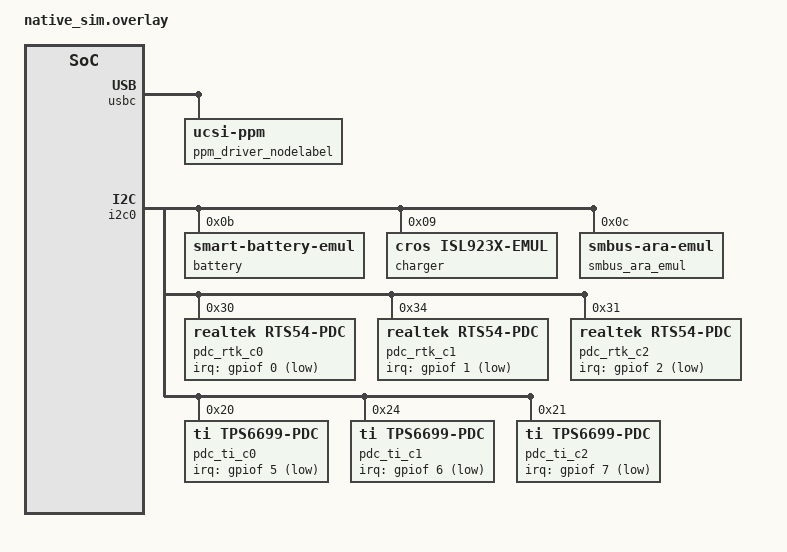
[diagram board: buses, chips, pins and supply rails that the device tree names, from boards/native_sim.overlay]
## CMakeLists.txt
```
# Copyright 2026 The ChromiumOS Authors
# Use of this source code is governed by a BSD-style license that can be
# found in the LICENSE file.

cmake_minimum_required(VERSION 3.13.1)
find_package(Zephyr REQUIRED HINTS "${ZEPHYR_BASE}")
project(atria)

# Include FFF fakes
add_subdirectory(${PLATFORM_EC}/zephyr/test/test_utils test_utils)

add_subdirectory(tests/atriarvp-rtk)

add_subdirectory_ifdef(CONFIG_TEST_BOARD_PENGHU tests/penghu)
```

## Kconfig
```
# Copyright 2026 The ChromiumOS Authors
# Use of this source code is governed by a BSD-style license that can be
# found in the LICENSE file.

choice TEST_BOARD_VARIANT
	prompt "Select board variant for tests"
	help
	  Board variant to use for tests

	config TEST_BOARD_ATRIA
		bool "Enable atria-specific tests"
		help
		  Enable Atria tests.

	config TEST_BOARD_PENGHU
		bool "Enable penghu-specific tests"
		help
		  Enable Penghu tests.

endchoice # TEST_BOARD_VARIANT

config TEST_BOARD_NAME
	string "Board name"
	default "atria" if TEST_BOARD_ATRIA
	default "penghu" if TEST_BOARD_PENGHU

config TEST_BOARD_PENGHU_KEYBOARD
	bool "Enable penghu keyboard tests"

config TEST_BOARD_PENGHU_FAN
	bool "Enable penghu fan tests"

config PLATFORM_EC_KEYBOARD_CUSTOMIZATION
	bool "Support keyboard customization"

config PLATFORM_EC_KEYBOARD_DEBUG
	bool "Enable keyboard debug prints"

source "Kconfig.zephyr"
```

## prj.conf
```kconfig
# Copyright 2026 The ChromiumOS Authors
# Use of this source code is governed by a BSD-style license that can be
# found in the LICENSE file.

CONFIG_ZTEST=y

# Basic EC functions
CONFIG_SHIMMED_TASKS=y
CONFIG_CROS_EC=y
CONFIG_PLATFORM_EC=y
CONFIG_PLATFORM_EC_HOOKS=y
CONFIG_PLATFORM_EC_HOSTCMD=y

# Disable CONFIG_PLATFORM_EC_DEBUG_ASSERT to avoid assert_post_action conflicts
CONFIG_PLATFORM_EC_DEBUG_ASSERT=n

# Console
CONFIG_SHELL_BACKEND_DUMMY=y
CONFIG_SHELL_BACKEND_DUMMY_BUF_SIZE=1000
CONFIG_SHELL_BACKEND_SERIAL=n
CONFIG_SERIAL=y
CONFIG_RING_BUFFER=y
CONFIG_LOG_BACKEND_UART=n

# Emulated PDC
CONFIG_EMUL=y

# Disable BC1.2
CONFIG_PLATFORM_EC_USB_CHARGER=n

# Charger (required by USB_PDC_POWER_MGMT subsystem)
CONFIG_PLATFORM_EC_CHARGER=y
CONFIG_PLATFORM_EC_CHARGER_SENSE_RESISTOR=10
CONFIG_PLATFORM_EC_CHARGER_SENSE_RESISTOR_AC=10
CONFIG_PLATFORM_EC_CHARGER_ISL9238=y
CONFIG_PLATFORM_EC_BATTERY_FUEL_GAUGE=y
CONFIG_PLATFORM_EC_CHARGER_MIN_POWER_MW_FOR_POWER_ON=30000
CONFIG_PLATFORM_EC_CHARGER_MIN_POWER_MW_FOR_POWER_ON_WITH_BATT=15000

# Turn off other unneeded features
CONFIG_PLATFORM_EC_BACKLIGHT_LID=n
CONFIG_PLATFORM_EC_VBOOT_HASH=n
CONFIG_PLATFORM_EC_SWITCH=n
CONFIG_PLATFORM_EC_USBC_SS_MUX=n

# Disable standard PD
CONFIG_PLATFORM_EC_USB_POWER_DELIVERY=n
CONFIG_PLATFORM_EC_USBC_PPC=n
CONFIG_PLATFORM_EC_USB_PD_PPC=n
CONFIG_PLATFORM_EC_HOSTCMD_PD_CONTROL=n
CONFIG_PLATFORM_EC_HOSTCMD_RWHASHPD=n
CONFIG_PLATFORM_EC_HOSTCMD_TYPEC_DISCOVERY=n
CONFIG_PLATFORM_EC_HOSTCMD_TYPEC_CONTROL=n
CONFIG_PLATFORM_EC_HOSTCMD_TYPEC_STATUS=n
CONFIG_PLATFORM_EC_HOSTCMD_PD_CHIP_INFO=n

# USB-C with PDC
CONFIG_PLATFORM_EC_USBC=y
CONFIG_PLATFORM_EC_USB_PD_CONTROLLER=y
CONFIG_PLATFORM_EC_USB_PD_VBUS_MEASURE_NOT_PRESENT=y
CONFIG_PLATFORM_EC_USB_PD_DISCHARGE=n

# PDC power management subsystem
CONFIG_USB_PDC_POWER_MGMT=y
CONFIG_PDC_POWER_MGMT_SRC_PDO_PEAK_OCP_150=y

# Log to stdout
CONFIG_UART_NATIVE_PTY_0_ON_STDINOUT=y
CONFIG_LOG_BACKEND_SHOW_COLOR=n
```

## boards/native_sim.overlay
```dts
/* Copyright 2026 The ChromiumOS Authors
 * Use of this source code is governed by a BSD-style license that can be
 * found in the LICENSE file.
 *
 * Consolidated native_sim overlay for all rvp_usbc_runtime test configs.
 *
 * Defines all three USB-C ports (C0, C1, C2) with both TI and RTK PDC nodes.
 * Tests use I2C emulator failure injection to simulate different hardware
 * configurations:
 *  - TI configurations: control which TI chips respond via I2C ACK/NACK
 *  - RTK configurations: control which RTK chips respond via I2C ACK/NACK
 */

#include <board-overlays/native_sim.dts>
#include <it8xxx2_emul.dts>
#include <usbc-policy.dtsi>

/ {
	usbc: usbc-ports {
		#address-cells = <1>;
		#size-cells = <0>;

		usbc_p0: port0@0 {
			compatible = "named-usbc-port";
			reg = <0>;
			pdc = <&pdc_rtk_c0 &pdc_ti_c0>;
			chg = <&charger>;
			policy = <&cros_policy>;
			zephyr,deferred-init;
		};

		usbc_p1: port1@1 {
			compatible = "named-usbc-port";
			reg = <1>;
			pdc = <&pdc_rtk_c1 &pdc_ti_c1>;
			policy = <&cros_policy>;
			zephyr,deferred-init;
		};

		usbc_p2: port2@2 {
			compatible = "named-usbc-port";
			reg = <2>;
			pdc = <&pdc_rtk_c2 &pdc_ti_c2>;
			policy = <&cros_policy>;
			zephyr,deferred-init;
		};

		ppm_driver_nodelabel: ppm-driver {
			compatible = "ucsi-ppm";
		};
	};

	named-i2c-ports {
		compatible = "named-i2c-ports";
		i2c_port_pd: i2c_pd {
			i2c-port = <&i2c0>;
			enum-names = "I2C_PORT_USB_C0_TCPC";
		};
		i2c_port_battery: i2c_battery {
			i2c-port = <&i2c0>;
			enum-names = "I2C_PORT_BATTERY";
		};
	};

	batteries {
		default_battery: lgc_ac17a8m {
			compatible = "lgc,ac17a8m", "battery-smart";
		};
	};
};

&i2c0 {
	battery: sb@b {
		compatible = "zephyr,smart-battery-emul";
		reg = <0xb>;
		cycle-count = <6>;
		version = "BATTERY_SPEC_VER_1_1_WITH_PEC";
		desired-charg-volt = <11250>;
		desired-charg-cur = <2400>;
		mf-name = "LGC";
		dev-name = "AP18C8K";
	};

	charger: isl9238@9 {
		compatible = "cros,isl923x-emul";
		status = "okay";
		reg = <0x9>;
		battery = <&battery>;
	};

	/* ------------------------------------------------------------------ */
	/* RTK PDC nodes — always enabled, i2c failure injection controls them */
	/* ------------------------------------------------------------------ */

	/* Required by the rts54-pdc emulator for SMBUS ARA handling */
	smbus_ara_emul: smbus_ara@c {
		compatible = "zephyr,smbus-ara-emul";
		reg = <0xc>;
	};

	pdc_rtk_c0: rts5453p@30 {
		compatible = "realtek,rts54-pdc";
		reg = <0x30>;
		irq-gpios = <&gpiof 0 GPIO_ACTIVE_LOW>;
		zephyr,deferred-init;
	};

	pdc_rtk_c1: rts5453p@34 {
		compatible = "realtek,rts54-pdc";
		reg = <0x34>;
		irq-gpios = <&gpiof 1 GPIO_ACTIVE_LOW>;
		zephyr,deferred-init;
	};

	pdc_rtk_c2: rts5453p@31 {
		compatible = "realtek,rts54-pdc";
		reg = <0x31>;
		irq-gpios = <&gpiof 2 GPIO_ACTIVE_LOW>;
		zephyr,deferred-init;
	};

	/* ------------------------------------------------------------------ */
	/* TI PDC nodes — always enabled, i2c failure injection controls them  */
	/* ------------------------------------------------------------------ */

	pdc_ti_c0: tps6699-pdc@20 {
		compatible = "ti,tps6699-pdc";
		reg = <0x20>;
		irq-gpios = <&gpiof 5 (GPIO_PULL_UP | GPIO_ACTIVE_LOW)>;
		port-index-on-chip = <0x1>;
		frs-supported;
		zephyr,deferred-init;
	};

	pdc_ti_c1: tps6699-pdc@24 {
		compatible = "ti,tps6699-pdc";
		reg = <0x24>;
		irq-gpios = <&gpiof 6 (GPIO_PULL_UP | GPIO_ACTIVE_LOW)>;
		port-index-on-chip = <0x2>;
		frs-supported;
		ccd;
		zephyr,deferred-init;
	};

	pdc_ti_c2: tps6699-pdc@21 {
		compatible = "ti,tps6699-pdc";
		reg = <0x21>;
		irq-gpios = <&gpiof 7 (GPIO_PULL_UP | GPIO_ACTIVE_LOW)>;
		port-index-on-chip = <0x1>;
		frs-supported;
		zephyr,deferred-init;
	};
};
```

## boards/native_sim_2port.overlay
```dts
/* Copyright 2026 The ChromiumOS Authors
 * Use of this source code is governed by a BSD-style license that can be
 * found in the LICENSE file.
 *
 * 2-port hardware overlay: only C0 and C1 TI TPS6699x PDC emulators present.
 * CONFIG_USB_PD_PORT_MAX_COUNT=2 → DEV_PDC_C2_TI=NULL, probe_pdc_chip(NULL)
 * returns false immediately. Discovery detects RVP_TCSS_DUAL_TI.
 */

#include <board-overlays/native_sim.dts>
#include <it8xxx2_emul.dts>
#include <usbc-policy.dtsi>

/ {
	usbc: usbc-ports {
		#address-cells = <1>;
		#size-cells = <0>;

		usbc_p0: port0@0 {
			compatible = "named-usbc-port";
			reg = <0>;
			pdc = <&pdc_ti_c0>;
			chg = <&charger>;
			policy = <&cros_policy>;
			zephyr,deferred-init;
		};

		usbc_p1: port1@1 {
			compatible = "named-usbc-port";
			reg = <1>;
			pdc = <&pdc_ti_c1>;
			policy = <&cros_policy>;
			zephyr,deferred-init;
		};

		ppm_driver_nodelabel: ppm-driver {
			compatible = "ucsi-ppm";
		};
	};

	named-i2c-ports {
		compatible = "named-i2c-ports";
		i2c_port_pd: i2c_pd {
			i2c-port = <&i2c0>;
			enum-names = "I2C_PORT_USB_C0_TCPC";
		};
		i2c_port_battery: i2c_battery {
			i2c-port = <&i2c0>;
			enum-names = "I2C_PORT_BATTERY";
		};
	};

	batteries {
		default_battery: lgc_ac17a8m {
			compatible = "lgc,ac17a8m", "battery-smart";
		};
	};
};

&i2c0 {
	battery: sb@b {
		compatible = "zephyr,smart-battery-emul";
		reg = <0xb>;
		cycle-count = <6>;
		version = "BATTERY_SPEC_VER_1_1_WITH_PEC";
		desired-charg-volt = <11250>;
		desired-charg-cur = <2400>;
		mf-name = "LGC";
		dev-name = "AP18C8K";
	};

	charger: isl9238@9 {
		compatible = "cros,isl923x-emul";
		status = "okay";
		reg = <0x9>;
		battery = <&battery>;
	};

	/*
	 * Two TPS6699x PDC nodes for the dual-AIC configuration.
	 * pdc_ti_c2 is absent: USB_PD_PORT_MAX_COUNT=2 so DEV_PDC_C2_TI=NULL.
	 */
	pdc_ti_c0: tps6699-pdc@20 {
		compatible = "ti,tps6699-pdc";
		reg = <0x20>;
		irq-gpios = <&gpiof 5 (GPIO_PULL_UP | GPIO_ACTIVE_LOW)>;
		port-index-on-chip = <0x1>;
		frs-supported;
		zephyr,deferred-init;
	};

	pdc_ti_c1: tps6699-pdc@24 {
		compatible = "ti,tps6699-pdc";
		reg = <0x24>;
		irq-gpios = <&gpiof 6 (GPIO_PULL_UP | GPIO_ACTIVE_LOW)>;
		port-index-on-chip = <0x2>;
		frs-supported;
		ccd;
		zephyr,deferred-init;
	};
};
```

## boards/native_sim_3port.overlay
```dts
/* Copyright 2026 The ChromiumOS Authors
 * Use of this source code is governed by a BSD-style license that can be
 * found in the LICENSE file.
 *
 * 3-port hardware overlay: all three TI TPS6699x PDC emulators present.
 * CONFIG_USB_PD_PORT_MAX_COUNT=3 → DEV_PDC_C2_TI is set.
 * Discovery detects RVP_TCSS_THREE_TI.
 */

#include <board-overlays/native_sim.dts>
#include <it8xxx2_emul.dts>
#include <usbc-policy.dtsi>

/ {
	usbc: usbc-ports {
		#address-cells = <1>;
		#size-cells = <0>;

		usbc_p0: port0@0 {
			compatible = "named-usbc-port";
			reg = <0>;
			pdc = <&pdc_ti_c0>;
			chg = <&charger>;
			policy = <&cros_policy>;
			zephyr,deferred-init;
		};

		usbc_p1: port1@1 {
			compatible = "named-usbc-port";
			reg = <1>;
			pdc = <&pdc_ti_c1>;
			policy = <&cros_policy>;
			zephyr,deferred-init;
		};

		usbc_p2: port2@2 {
			compatible = "named-usbc-port";
			reg = <2>;
			pdc = <&pdc_ti_c2>;
			policy = <&cros_policy>;
			zephyr,deferred-init;
		};

		ppm_driver_nodelabel: ppm-driver {
			compatible = "ucsi-ppm";
		};
	};

	named-i2c-ports {
		compatible = "named-i2c-ports";
		i2c_port_pd: i2c_pd {
			i2c-port = <&i2c0>;
			enum-names = "I2C_PORT_USB_C0_TCPC";
		};
		i2c_port_battery: i2c_battery {
			i2c-port = <&i2c0>;
			enum-names = "I2C_PORT_BATTERY";
		};
	};

	batteries {
		default_battery: lgc_ac17a8m {
			compatible = "lgc,ac17a8m", "battery-smart";
		};
	};
};

&i2c0 {
	battery: sb@b {
		compatible = "zephyr,smart-battery-emul";
		reg = <0xb>;
		cycle-count = <6>;
		version = "BATTERY_SPEC_VER_1_1_WITH_PEC";
		desired-charg-volt = <11250>;
		desired-charg-cur = <2400>;
		mf-name = "LGC";
		dev-name = "AP18C8K";
	};

	charger: isl9238@9 {
		compatible = "cros,isl923x-emul";
		status = "okay";
		reg = <0x9>;
		battery = <&battery>;
	};

	/*
	 * Three TPS6699x PDC nodes matching the addresses in rvp_usbc.dtsi.
	 * Using zephyr,deferred-init so the PDC driver threads don't start
	 * automatically; the emulator backends are still registered with i2c0
	 * and respond to the raw I2C probes in probe_pdc_chip().
	 */
	pdc_ti_c0: tps6699-pdc@20 {
		compatible = "ti,tps6699-pdc";
		reg = <0x20>;
		irq-gpios = <&gpiof 5 (GPIO_PULL_UP | GPIO_ACTIVE_LOW)>;
		port-index-on-chip = <0x1>;
		frs-supported;
		zephyr,deferred-init;
	};

	pdc_ti_c1: tps6699-pdc@24 {
		compatible = "ti,tps6699-pdc";
		reg = <0x24>;
		irq-gpios = <&gpiof 6 (GPIO_PULL_UP | GPIO_ACTIVE_LOW)>;
		port-index-on-chip = <0x2>;
		frs-supported;
		ccd;
		zephyr,deferred-init;
	};

	pdc_ti_c2: tps6699-pdc@21 {
		compatible = "ti,tps6699-pdc";
		reg = <0x21>;
		irq-gpios = <&gpiof 7 (GPIO_PULL_UP | GPIO_ACTIVE_LOW)>;
		port-index-on-chip = <0x1>;
		frs-supported;
		zephyr,deferred-init;
	};
};
```

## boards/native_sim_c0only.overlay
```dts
/* Copyright 2026 The ChromiumOS Authors
 * Use of this source code is governed by a BSD-style license that can be
 * found in the LICENSE file.
 *
 * C0-only overlay: C0 real TPS6699x; C1 fake-absent; C2=NULL
 * (USB_PD_PORT_MAX_COUNT=2). Probes: C0=true, C1=false → RVP_TCSS_C0_TI.
 */

#include <board-overlays/native_sim.dts>
#include <it8xxx2_emul.dts>
#include <usbc-policy.dtsi>

/ {
	usbc: usbc-ports {
		#address-cells = <1>;
		#size-cells = <0>;

		usbc_p0: port0@0 {
			compatible = "named-usbc-port";
			reg = <0>;
			pdc = <&pdc_ti_c0>;
			chg = <&charger>;
			policy = <&cros_policy>;
			zephyr,deferred-init;
		};

		usbc_p1: port1@1 {
			compatible = "named-usbc-port";
			reg = <1>;
			pdc = <&pdc_ti_c1>;
			policy = <&cros_policy>;
			zephyr,deferred-init;
		};

		ppm_driver_nodelabel: ppm-driver {
			compatible = "ucsi-ppm";
		};
	};

	named-i2c-ports {
		compatible = "named-i2c-ports";
		i2c_port_pd: i2c_pd {
			i2c-port = <&i2c0>;
			enum-names = "I2C_PORT_USB_C0_TCPC";
		};
		i2c_port_battery: i2c_battery {
			i2c-port = <&i2c0>;
			enum-names = "I2C_PORT_BATTERY";
		};
	};

	batteries {
		default_battery: lgc_ac17a8m {
			compatible = "lgc,ac17a8m", "battery-smart";
		};
	};
};

&i2c0 {
	battery: sb@b {
		compatible = "zephyr,smart-battery-emul";
		reg = <0xb>;
		cycle-count = <6>;
		version = "BATTERY_SPEC_VER_1_1_WITH_PEC";
		desired-charg-volt = <11250>;
		desired-charg-cur = <2400>;
		mf-name = "LGC";
		dev-name = "AP18C8K";
	};

	charger: isl9238@9 {
		compatible = "cros,isl923x-emul";
		status = "okay";
		reg = <0x9>;
		battery = <&battery>;
	};

	pdc_ti_c0: tps6699-pdc@20 {
		compatible = "ti,tps6699-pdc";
		reg = <0x20>;
		irq-gpios = <&gpiof 5 (GPIO_PULL_UP | GPIO_ACTIVE_LOW)>;
		port-index-on-chip = <0x1>;
		frs-supported;
		zephyr,deferred-init;
	};

	pdc_ti_c1: fake-absent-pdc@7d {
		compatible = "cros,fake-absent-pdc";
		reg = <0x7d>;
		zephyr,deferred-init;
	};
};
```

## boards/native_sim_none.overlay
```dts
/* Copyright 2026 The ChromiumOS Authors
 * Use of this source code is governed by a BSD-style license that can be
 * found in the LICENSE file.
 *
 * No-PDC overlay: both C0 and C1 are fake-absent; C2 is NULL
 * (USB_PD_PORT_MAX_COUNT=2). All probes fail → RVP_TCSS_NONE detected.
 */

#include <board-overlays/native_sim.dts>
#include <it8xxx2_emul.dts>
#include <usbc-policy.dtsi>

/ {
	usbc: usbc-ports {
		#address-cells = <1>;
		#size-cells = <0>;

		usbc_p0: port0@0 {
			compatible = "named-usbc-port";
			reg = <0>;
			pdc = <&pdc_ti_c0>;
			chg = <&charger>;
			policy = <&cros_policy>;
			zephyr,deferred-init;
		};

		usbc_p1: port1@1 {
			compatible = "named-usbc-port";
			reg = <1>;
			pdc = <&pdc_ti_c1>;
			policy = <&cros_policy>;
			zephyr,deferred-init;
		};

		ppm_driver_nodelabel: ppm-driver {
			compatible = "ucsi-ppm";
		};
	};

	named-i2c-ports {
		compatible = "named-i2c-ports";
		i2c_port_pd: i2c_pd {
			i2c-port = <&i2c0>;
			enum-names = "I2C_PORT_USB_C0_TCPC";
		};
		i2c_port_battery: i2c_battery {
			i2c-port = <&i2c0>;
			enum-names = "I2C_PORT_BATTERY";
		};
	};

	batteries {
		default_battery: lgc_ac17a8m {
			compatible = "lgc,ac17a8m", "battery-smart";
		};
	};
};

&i2c0 {
	battery: sb@b {
		compatible = "zephyr,smart-battery-emul";
		reg = <0xb>;
		cycle-count = <6>;
		version = "BATTERY_SPEC_VER_1_1_WITH_PEC";
		desired-charg-volt = <11250>;
		desired-charg-cur = <2400>;
		mf-name = "LGC";
		dev-name = "AP18C8K";
	};

	charger: isl9238@9 {
		compatible = "cros,isl923x-emul";
		status = "okay";
		reg = <0x9>;
		battery = <&battery>;
	};

	/* No real PDC emulators — both C0 and C1 are fake-absent nodes at
	 * unregistered addresses so i2c_transfer_dt() fails for both.
	 */
	pdc_ti_c0: fake-absent-pdc@7c {
		compatible = "cros,fake-absent-pdc";
		reg = <0x7c>;
		zephyr,deferred-init;
	};

	pdc_ti_c1: fake-absent-pdc@7d {
		compatible = "cros,fake-absent-pdc";
		reg = <0x7d>;
		zephyr,deferred-init;
	};
};
```

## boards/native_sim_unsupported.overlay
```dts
/* Copyright 2026 The ChromiumOS Authors
 * Use of this source code is governed by a BSD-style license that can be
 * found in the LICENSE file.
 *
 * Unsupported-combo overlay: C0 and C2 real TPS6699x; C1 fake-absent; 3
 * usbc-ports (USB_PD_PORT_MAX_COUNT=3). Probes: C0=true, C1=false, C2=true
 * → detected = RVP_TCSS_C0_TI | RVP_TCSS_C2_TI → default (unsupported) case.
 */

#include <board-overlays/native_sim.dts>
#include <it8xxx2_emul.dts>
#include <usbc-policy.dtsi>

/ {
	usbc: usbc-ports {
		#address-cells = <1>;
		#size-cells = <0>;

		usbc_p0: port0@0 {
			compatible = "named-usbc-port";
			reg = <0>;
			pdc = <&pdc_ti_c0>;
			chg = <&charger>;
			policy = <&cros_policy>;
			zephyr,deferred-init;
		};

		usbc_p1: port1@1 {
			compatible = "named-usbc-port";
			reg = <1>;
			pdc = <&pdc_ti_c1>;
			policy = <&cros_policy>;
			zephyr,deferred-init;
		};

		usbc_p2: port2@2 {
			compatible = "named-usbc-port";
			reg = <2>;
			pdc = <&pdc_ti_c2>;
			policy = <&cros_policy>;
			zephyr,deferred-init;
		};

		ppm_driver_nodelabel: ppm-driver {
			compatible = "ucsi-ppm";
		};
	};

	named-i2c-ports {
		compatible = "named-i2c-ports";
		i2c_port_pd: i2c_pd {
			i2c-port = <&i2c0>;
			enum-names = "I2C_PORT_USB_C0_TCPC";
		};
		i2c_port_battery: i2c_battery {
			i2c-port = <&i2c0>;
			enum-names = "I2C_PORT_BATTERY";
		};
	};

	batteries {
		default_battery: lgc_ac17a8m {
			compatible = "lgc,ac17a8m", "battery-smart";
		};
	};
};

&i2c0 {
	battery: sb@b {
		compatible = "zephyr,smart-battery-emul";
		reg = <0xb>;
		cycle-count = <6>;
		version = "BATTERY_SPEC_VER_1_1_WITH_PEC";
		desired-charg-volt = <11250>;
		desired-charg-cur = <2400>;
		mf-name = "LGC";
		dev-name = "AP18C8K";
	};

	charger: isl9238@9 {
		compatible = "cros,isl923x-emul";
		status = "okay";
		reg = <0x9>;
		battery = <&battery>;
	};

	pdc_ti_c0: tps6699-pdc@20 {
		compatible = "ti,tps6699-pdc";
		reg = <0x20>;
		irq-gpios = <&gpiof 5 (GPIO_PULL_UP | GPIO_ACTIVE_LOW)>;
		port-index-on-chip = <0x1>;
		frs-supported;
		zephyr,deferred-init;
	};

	pdc_ti_c1: fake-absent-pdc@7d {
		compatible = "cros,fake-absent-pdc";
		reg = <0x7d>;
		zephyr,deferred-init;
	};

	pdc_ti_c2: tps6699-pdc@21 {
		compatible = "ti,tps6699-pdc";
		reg = <0x21>;
		irq-gpios = <&gpiof 7 (GPIO_PULL_UP | GPIO_ACTIVE_LOW)>;
		port-index-on-chip = <0x1>;
		frs-supported;
		zephyr,deferred-init;
	};
};
```

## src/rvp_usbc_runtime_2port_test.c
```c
/* Copyright 2026 The ChromiumOS Authors
 * Use of this source code is governed by a BSD-style license that can be
 * found in the LICENSE file.
 *
 * 2-port test for board_get_pdc_for_port().
 *
 * Overlay: native_sim.overlay (ATRIA_2PORT)
 * Only C0 and C1 emulators present; USB_PD_PORT_MAX_COUNT=2 so DEV_PDC_C2_TI
 * is NULL and probe_pdc_chip(NULL) returns false immediately.
 * Expected discovery result: DUAL_TI.
 *
 * A single ZTEST covers all port queries so the first call always triggers a
 * fresh discover_tcss_modules() run.
 */

#include "usbc/pdc_runtime_port_config.h"

#include <errno.h>

#include <zephyr/devicetree.h>
#include <zephyr/ztest.h>

ZTEST_SUITE(rvp_usbc_runtime_2port, NULL, NULL, NULL, NULL, NULL);

/**
 * First call triggers discovery; C2=NULL so probe_pdc_chip(NULL) returns
 * false immediately.  DUAL_TI is detected.  Both valid ports are verified,
 * then an out-of-range port exercises the DUAL_TI switch break.
 */
ZTEST(rvp_usbc_runtime_2port, test_all_ports)
{
	const struct device *dev;

	zassert_ok(board_get_pdc_for_port(0, &dev));
	zassert_equal(DEVICE_DT_GET(DT_NODELABEL(pdc_ti_c0)), dev);

	zassert_ok(board_get_pdc_for_port(1, &dev));
	zassert_equal(DEVICE_DT_GET(DT_NODELABEL(pdc_ti_c1)), dev);

	/* Port 2 has no match in the DUAL_TI switch case → -ENOENT. */
	zassert_equal(-ENOENT, board_get_pdc_for_port(2, &dev));
	zassert_is_null(dev);
}
```

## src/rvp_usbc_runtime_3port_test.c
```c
/* Copyright 2026 The ChromiumOS Authors
 * Use of this source code is governed by a BSD-style license that can be
 * found in the LICENSE file.
 *
 * 3-port test for board_get_pdc_for_port().
 *
 * Overlay: native_sim.overlay (CONFIG_TEST_ATRIA_RVP_USBC_RUNTIME_3PORT=y)
 * All three TPS6699x emulators respond → THREE_TI detected.
 *
 * A single ZTEST covers every port query so that the first call always
 * triggers a fresh discover_tcss_modules() run (ctx starts zero-initialised
 * in each test binary).
 */

#include "usbc/pdc_runtime_port_config.h"

#include <errno.h>

#include <zephyr/devicetree.h>
#include <zephyr/ztest.h>

ZTEST_SUITE(rvp_usbc_runtime_3port, NULL, NULL, NULL, NULL, NULL);

/**
 * First call triggers discovery; all three emulators respond so THREE_TI is
 * detected.  Verify each valid port and confirm an out-of-range port returns
 * -ENOENT.
 */
ZTEST(rvp_usbc_runtime_3port, test_all_ports)
{
	const struct device *dev;

	zassert_ok(board_get_pdc_for_port(0, &dev));
	zassert_equal(DEVICE_DT_GET(DT_NODELABEL(pdc_ti_c0)), dev);

	zassert_ok(board_get_pdc_for_port(1, &dev));
	zassert_equal(DEVICE_DT_GET(DT_NODELABEL(pdc_ti_c1)), dev);

	zassert_ok(board_get_pdc_for_port(2, &dev));
	zassert_equal(DEVICE_DT_GET(DT_NODELABEL(pdc_ti_c2)), dev);

	/* Port 3 has no match in the THREE_TI switch case. */
	zassert_equal(-ENOENT, board_get_pdc_for_port(3, &dev));
	zassert_is_null(dev);
}
```

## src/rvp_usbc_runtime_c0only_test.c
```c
/* Copyright 2026 The ChromiumOS Authors
 * Use of this source code is governed by a BSD-style license that can be
 * found in the LICENSE file.
 *
 * C0-only test for board_get_pdc_for_port().
 *
 * Overlay: native_sim.overlay (CONFIG_TEST_ATRIA_RVP_USBC_RUNTIME_C0_ONLY=y)
 * C0 responds; C1 is fake-absent; C2=NULL.  Probes: C0=true, C1=false
 * → RVP_TCSS_C0_TI detected.  Port 0 succeeds; port 1 falls through to
 * -ENOENT.
 */

#include "usbc/pdc_runtime_port_config.h"

#include <errno.h>

#include <zephyr/devicetree.h>
#include <zephyr/ztest.h>

ZTEST_SUITE(rvp_usbc_runtime_c0only, NULL, NULL, NULL, NULL, NULL);

ZTEST(rvp_usbc_runtime_c0only, test_c0_only)
{
	const struct device *dev;

	/* First call triggers discovery → C0_TI. */
	zassert_ok(board_get_pdc_for_port(0, &dev));
	zassert_equal(DEVICE_DT_GET(DT_NODELABEL(pdc_ti_c0)), dev);

	/* Port 1 has no match in the C0_TI switch case. */
	zassert_equal(-ENOENT, board_get_pdc_for_port(1, &dev));
	zassert_is_null(dev);
}
```

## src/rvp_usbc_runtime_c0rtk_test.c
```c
/* Copyright 2026 The ChromiumOS Authors
 * Use of this source code is governed by a BSD-style license that can be
 * found in the LICENSE file.
 *
 * C0-only RTK test for board_get_pdc_for_port().
 *
 * Overlay: native_sim.overlay (ATRIA_C0RTK)
 * C0 RTK probe succeeds (tps6699 proxy); C1 RTK fake-absent; C2=NULL.
 * detected = RVP_TCSS_C0_RTK → C0_RTK switch case.
 */

#include "usbc/pdc_runtime_port_config.h"

#include <errno.h>

#include <zephyr/devicetree.h>
#include <zephyr/ztest.h>

ZTEST_SUITE(rvp_usbc_runtime_c0rtk, NULL, NULL, NULL, NULL, NULL);

ZTEST(rvp_usbc_runtime_c0rtk, test_c0_rtk)
{
	const struct device *dev;

	/* First call triggers discovery → C0_RTK. */
	zassert_ok(board_get_pdc_for_port(0, &dev));
	zassert_equal(DEVICE_DT_GET(DT_NODELABEL(pdc_rtk_c0)), dev);

	/* Port 1 has no match in the C0_RTK switch case → -ENOENT. */
	zassert_equal(-ENOENT, board_get_pdc_for_port(1, &dev));
	zassert_is_null(dev);
}
```

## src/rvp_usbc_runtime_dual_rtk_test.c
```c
/* Copyright 2026 The ChromiumOS Authors
 * Use of this source code is governed by a BSD-style license that can be
 * found in the LICENSE file.
 *
 * Dual-RTK test for board_get_pdc_for_port().
 *
 * Overlay: native_sim.overlay (ATRIA_DUAL_RTK)
 * C0 and C1 RTK probes succeed; C2=NULL (USB_PD_PORT_MAX_COUNT=2).
 * detected = RVP_TCSS_DUAL_RTK → DUAL_RTK switch case.
 */

#include "usbc/pdc_runtime_port_config.h"

#include <errno.h>

#include <zephyr/devicetree.h>
#include <zephyr/ztest.h>

ZTEST_SUITE(rvp_usbc_runtime_dual_rtk, NULL, NULL, NULL, NULL, NULL);

ZTEST(rvp_usbc_runtime_dual_rtk, test_dual_rtk)
{
	const struct device *dev;

	/* First call triggers discovery → DUAL_RTK. */
	zassert_ok(board_get_pdc_for_port(0, &dev));
	zassert_equal(DEVICE_DT_GET(DT_NODELABEL(pdc_rtk_c0)), dev);

	zassert_ok(board_get_pdc_for_port(1, &dev));
	zassert_equal(DEVICE_DT_GET(DT_NODELABEL(pdc_rtk_c1)), dev);

	/* Port 2 has no match in the DUAL_RTK switch case → -ENOENT. */
	zassert_equal(-ENOENT, board_get_pdc_for_port(2, &dev));
	zassert_is_null(dev);
}
```

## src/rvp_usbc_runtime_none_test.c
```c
/* Copyright 2026 The ChromiumOS Authors
 * Use of this source code is governed by a BSD-style license that can be
 * found in the LICENSE file.
 *
 * No-PDC test for board_get_pdc_for_port().
 *
 * Overlay: native_sim.overlay (CONFIG_TEST_ATRIA_RVP_USBC_RUNTIME_NONE=y)
 * Both C0 and C1 are fake-absent; C2=NULL.  All probes fail → NONE detected.
 * board_get_pdc_for_port() must return 0 with *dev = NULL for any port.
 */

#include "usbc/pdc_runtime_port_config.h"

#include <zephyr/ztest.h>

ZTEST_SUITE(rvp_usbc_runtime_none, NULL, NULL, NULL, NULL, NULL);

ZTEST(rvp_usbc_runtime_none, test_no_pdcs_detected)
{
	const struct device *dev;

	/* First call triggers discovery; all probes fail → NONE. */
	zassert_ok(board_get_pdc_for_port(0, &dev));
	zassert_is_null(dev);
}
```

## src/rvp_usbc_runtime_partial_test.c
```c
/* Copyright 2026 The ChromiumOS Authors
 * Use of this source code is governed by a BSD-style license that can be
 * found in the LICENSE file.
 *
 * Shared test file for partial/edge-case hardware configurations.
 *
 * Each testcase.yaml entry compiles this file with a different overlay and
 * exactly one CONFIG_TEST_ATRIA_RVP_USBC_RUNTIME_* flag set, activating the
 * matching ZTEST block. The overlay controls which PDC chips are detected by
 * discover_tcss_modules(), which in turn drives which switch case in
 * board_get_pdc_for_port() is exercised.
 */

#include "usbc/pdc_runtime_port_config.h"

#include <errno.h>

#include <zephyr/devicetree.h>
#include <zephyr/ztest.h>

ZTEST_SUITE(rvp_usbc_runtime_partial, NULL, NULL, NULL, NULL, NULL);

#if defined(CONFIG_TEST_ATRIA_RVP_USBC_RUNTIME_NONE)
/**
 * NONE: no PDCs detected → any port returns 0 with *dev = NULL.
 */
ZTEST(rvp_usbc_runtime_partial, test_none)
{
	const struct device *dev;

	zassert_ok(board_get_pdc_for_port(0, &dev));
	zassert_is_null(dev);
}
#endif

#if defined(CONFIG_TEST_ATRIA_RVP_USBC_RUNTIME_C0_ONLY)
/**
 * C0_TI: port 0 succeeds, port 1 falls through to -ENOENT.
 */
ZTEST(rvp_usbc_runtime_partial, test_c0_only)
{
	const struct device *dev;

	zassert_ok(board_get_pdc_for_port(0, &dev));
	zassert_equal(DEVICE_DT_GET(DT_NODELABEL(pdc_ti_c0)), dev);

	zassert_equal(-ENOENT, board_get_pdc_for_port(1, &dev));
	zassert_is_null(dev);
}
#endif

#if defined(CONFIG_TEST_ATRIA_RVP_USBC_RUNTIME_UNSUPPORTED)
/**
 * Unsupported combo (C0 + C2, no C1) → default case, returns -ENOENT.
 */
ZTEST(rvp_usbc_runtime_partial, test_unsupported_combo)
{
	const struct device *dev;

	zassert_equal(-ENOENT, board_get_pdc_for_port(0, &dev));
	zassert_is_null(dev);
}
#endif
```

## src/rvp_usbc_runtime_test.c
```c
/* Copyright 2026 The ChromiumOS Authors
 * Use of this source code is governed by a BSD-style license that can be
 * found in the LICENSE file.
 *
 * Consolidated test suite for board_get_pdc_for_port() runtime detection.
 *
 * Uses reset_pdc_discovery_for_test() to reset internal state between tests,
 * allowing all hardware configurations to be tested in a single binary.
 */

#include "emul/emul_common_i2c.h"
#include "emul/emul_realtek_rts54xx_public.h"
#include "emul/emul_tps6699x.h"
#include "usbc/pdc_runtime_port_config.h"

#include <errno.h>

#include <zephyr/devicetree.h>
#include <zephyr/drivers/emul.h>
#include <zephyr/ztest.h>

/* Test-only function to reset discovery state between tests */
extern void reset_pdc_discovery_for_test(void);

/* ========================================================================== */
/* TI PDC Configuration Tests                                                 */
/* ========================================================================== */

ZTEST(rvp_usbc_runtime, test_three_port_ti)
{
	const struct device *dev;

	/* All three TI emulators respond, all RTK and HBR fail */
	i2c_common_emul_set_write_fail_reg(
		emul_tps6699x_get_i2c_common_data(
			EMUL_DT_GET(DT_NODELABEL(pdc_ti_c0))),
		I2C_COMMON_EMUL_NO_FAIL_REG);
	i2c_common_emul_set_write_fail_reg(
		emul_tps6699x_get_i2c_common_data(
			EMUL_DT_GET(DT_NODELABEL(pdc_ti_c1))),
		I2C_COMMON_EMUL_NO_FAIL_REG);
	i2c_common_emul_set_write_fail_reg(
		emul_tps6699x_get_i2c_common_data(
			EMUL_DT_GET(DT_NODELABEL(pdc_ti_c2))),
		I2C_COMMON_EMUL_NO_FAIL_REG);
	i2c_common_emul_set_write_fail_reg(
		emul_tps6699x_get_i2c_common_data(
			EMUL_DT_GET(DT_NODELABEL(pdc_ti_c0_hbr))),
		I2C_COMMON_EMUL_FAIL_ALL_REG);
	i2c_common_emul_set_write_fail_reg(
		rts5453p_emul_get_i2c_common_data(
			EMUL_DT_GET(DT_NODELABEL(pdc_rtk_c0))),
		I2C_COMMON_EMUL_FAIL_ALL_REG);
	i2c_common_emul_set_write_fail_reg(
		rts5453p_emul_get_i2c_common_data(
			EMUL_DT_GET(DT_NODELABEL(pdc_rtk_c1))),
		I2C_COMMON_EMUL_FAIL_ALL_REG);
	i2c_common_emul_set_write_fail_reg(
		rts5453p_emul_get_i2c_common_data(
			EMUL_DT_GET(DT_NODELABEL(pdc_rtk_c2))),
		I2C_COMMON_EMUL_FAIL_ALL_REG);
	reset_pdc_discovery_for_test();

	/* THREE_TI detected, verify all ports */
	zassert_ok(board_get_pdc_for_port(0, &dev));
	zassert_equal(DEVICE_DT_GET(DT_NODELABEL(pdc_ti_c0)), dev);

	zassert_ok(board_get_pdc_for_port(1, &dev));
	zassert_equal(DEVICE_DT_GET(DT_NODELABEL(pdc_ti_c1)), dev);

	zassert_ok(board_get_pdc_for_port(2, &dev));
	zassert_equal(DEVICE_DT_GET(DT_NODELABEL(pdc_ti_c2)), dev);

	/* Port 3 out of range */
	zassert_equal(-ENOENT, board_get_pdc_for_port(3, &dev));
	zassert_is_null(dev);
}

ZTEST(rvp_usbc_runtime, test_dual_port_ti)
{
	const struct device *dev;

	/* Only C0 and C1 TI respond, C2 and HBR fail */
	i2c_common_emul_set_write_fail_reg(
		emul_tps6699x_get_i2c_common_data(
			EMUL_DT_GET(DT_NODELABEL(pdc_ti_c0))),
		I2C_COMMON_EMUL_NO_FAIL_REG);
	i2c_common_emul_set_write_fail_reg(
		emul_tps6699x_get_i2c_common_data(
			EMUL_DT_GET(DT_NODELABEL(pdc_ti_c1))),
		I2C_COMMON_EMUL_NO_FAIL_REG);
	i2c_common_emul_set_write_fail_reg(
		emul_tps6699x_get_i2c_common_data(
			EMUL_DT_GET(DT_NODELABEL(pdc_ti_c2))),
		I2C_COMMON_EMUL_FAIL_ALL_REG);
	i2c_common_emul_set_write_fail_reg(
		emul_tps6699x_get_i2c_common_data(
			EMUL_DT_GET(DT_NODELABEL(pdc_ti_c0_hbr))),
		I2C_COMMON_EMUL_FAIL_ALL_REG);
	i2c_common_emul_set_write_fail_reg(
		rts5453p_emul_get_i2c_common_data(
			EMUL_DT_GET(DT_NODELABEL(pdc_rtk_c0))),
		I2C_COMMON_EMUL_FAIL_ALL_REG);
	i2c_common_emul_set_write_fail_reg(
		rts5453p_emul_get_i2c_common_data(
			EMUL_DT_GET(DT_NODELABEL(pdc_rtk_c1))),
		I2C_COMMON_EMUL_FAIL_ALL_REG);
	i2c_common_emul_set_write_fail_reg(
		rts5453p_emul_get_i2c_common_data(
			EMUL_DT_GET(DT_NODELABEL(pdc_rtk_c2))),
		I2C_COMMON_EMUL_FAIL_ALL_REG);
	reset_pdc_discovery_for_test();

	/* DUAL_TI detected, verify valid ports */
	zassert_ok(board_get_pdc_for_port(0, &dev));
	zassert_equal(DEVICE_DT_GET(DT_NODELABEL(pdc_ti_c0)), dev);

	zassert_ok(board_get_pdc_for_port(1, &dev));
	zassert_equal(DEVICE_DT_GET(DT_NODELABEL(pdc_ti_c1)), dev);

	/* Port 2 out of range in DUAL_TI */
	zassert_equal(-ENOENT, board_get_pdc_for_port(2, &dev));
	zassert_is_null(dev);
}

ZTEST(rvp_usbc_runtime, test_no_pdcs)
{
	const struct device *dev;

	/* All PDC probes fail */
	i2c_common_emul_set_write_fail_reg(
		emul_tps6699x_get_i2c_common_data(
			EMUL_DT_GET(DT_NODELABEL(pdc_ti_c0))),
		I2C_COMMON_EMUL_FAIL_ALL_REG);
	i2c_common_emul_set_write_fail_reg(
		emul_tps6699x_get_i2c_common_data(
			EMUL_DT_GET(DT_NODELABEL(pdc_ti_c1))),
		I2C_COMMON_EMUL_FAIL_ALL_REG);
	i2c_common_emul_set_write_fail_reg(
		emul_tps6699x_get_i2c_common_data(
			EMUL_DT_GET(DT_NODELABEL(pdc_ti_c2))),
		I2C_COMMON_EMUL_FAIL_ALL_REG);
	i2c_common_emul_set_write_fail_reg(
		emul_tps6699x_get_i2c_common_data(
			EMUL_DT_GET(DT_NODELABEL(pdc_ti_c0_hbr))),
		I2C_COMMON_EMUL_FAIL_ALL_REG);
	i2c_common_emul_set_write_fail_reg(
		rts5453p_emul_get_i2c_common_data(
			EMUL_DT_GET(DT_NODELABEL(pdc_rtk_c0))),
		I2C_COMMON_EMUL_FAIL_ALL_REG);
	i2c_common_emul_set_write_fail_reg(
		rts5453p_emul_get_i2c_common_data(
			EMUL_DT_GET(DT_NODELABEL(pdc_rtk_c1))),
		I2C_COMMON_EMUL_FAIL_ALL_REG);
	i2c_common_emul_set_write_fail_reg(
		rts5453p_emul_get_i2c_common_data(
			EMUL_DT_GET(DT_NODELABEL(pdc_rtk_c2))),
		I2C_COMMON_EMUL_FAIL_ALL_REG);
	reset_pdc_discovery_for_test();

	/* NONE detected, returns OK with dev=NULL */
	zassert_ok(board_get_pdc_for_port(0, &dev));
	zassert_is_null(dev);
}

ZTEST(rvp_usbc_runtime, test_c0_only_ti)
{
	const struct device *dev;

	/* Only C0 TI responds, all others fail */
	i2c_common_emul_set_write_fail_reg(
		emul_tps6699x_get_i2c_common_data(
			EMUL_DT_GET(DT_NODELABEL(pdc_ti_c0))),
		I2C_COMMON_EMUL_NO_FAIL_REG);
	i2c_common_emul_set_write_fail_reg(
		emul_tps6699x_get_i2c_common_data(
			EMUL_DT_GET(DT_NODELABEL(pdc_ti_c1))),
		I2C_COMMON_EMUL_FAIL_ALL_REG);
	i2c_common_emul_set_write_fail_reg(
		emul_tps6699x_get_i2c_common_data(
			EMUL_DT_GET(DT_NODELABEL(pdc_ti_c2))),
		I2C_COMMON_EMUL_FAIL_ALL_REG);
	i2c_common_emul_set_write_fail_reg(
		emul_tps6699x_get_i2c_common_data(
			EMUL_DT_GET(DT_NODELABEL(pdc_ti_c0_hbr))),
		I2C_COMMON_EMUL_FAIL_ALL_REG);
	i2c_common_emul_set_write_fail_reg(
		rts5453p_emul_get_i2c_common_data(
			EMUL_DT_GET(DT_NODELABEL(pdc_rtk_c0))),
		I2C_COMMON_EMUL_FAIL_ALL_REG);
	i2c_common_emul_set_write_fail_reg(
		rts5453p_emul_get_i2c_common_data(
			EMUL_DT_GET(DT_NODELABEL(pdc_rtk_c1))),
		I2C_COMMON_EMUL_FAIL_ALL_REG);
	i2c_common_emul_set_write_fail_reg(
		rts5453p_emul_get_i2c_common_data(
			EMUL_DT_GET(DT_NODELABEL(pdc_rtk_c2))),
		I2C_COMMON_EMUL_FAIL_ALL_REG);
	reset_pdc_discovery_for_test();

	/* C0_TI detected, verify C0 works and others fail */
	zassert_ok(board_get_pdc_for_port(0, &dev));
	zassert_equal(DEVICE_DT_GET(DT_NODELABEL(pdc_ti_c0)), dev);

	zassert_equal(-ENOENT, board_get_pdc_for_port(1, &dev));
	zassert_is_null(dev);
}

ZTEST(rvp_usbc_runtime, test_unsupported_config)
{
	const struct device *dev;

	/* C0 and C2 TI respond, but not C1 (unsupported config) */
	i2c_common_emul_set_write_fail_reg(
		emul_tps6699x_get_i2c_common_data(
			EMUL_DT_GET(DT_NODELABEL(pdc_ti_c0))),
		I2C_COMMON_EMUL_NO_FAIL_REG);
	i2c_common_emul_set_write_fail_reg(
		emul_tps6699x_get_i2c_common_data(
			EMUL_DT_GET(DT_NODELABEL(pdc_ti_c1))),
		I2C_COMMON_EMUL_FAIL_ALL_REG);
	i2c_common_emul_set_write_fail_reg(
		emul_tps6699x_get_i2c_common_data(
			EMUL_DT_GET(DT_NODELABEL(pdc_ti_c2))),
		I2C_COMMON_EMUL_NO_FAIL_REG);
	i2c_common_emul_set_write_fail_reg(
		emul_tps6699x_get_i2c_common_data(
			EMUL_DT_GET(DT_NODELABEL(pdc_ti_c0_hbr))),
		I2C_COMMON_EMUL_FAIL_ALL_REG);
	i2c_common_emul_set_write_fail_reg(
		rts5453p_emul_get_i2c_common_data(
			EMUL_DT_GET(DT_NODELABEL(pdc_rtk_c0))),
		I2C_COMMON_EMUL_FAIL_ALL_REG);
	i2c_common_emul_set_write_fail_reg(
		rts5453p_emul_get_i2c_common_data(
			EMUL_DT_GET(DT_NODELABEL(pdc_rtk_c1))),
		I2C_COMMON_EMUL_FAIL_ALL_REG);
	i2c_common_emul_set_write_fail_reg(
		rts5453p_emul_get_i2c_common_data(
			EMUL_DT_GET(DT_NODELABEL(pdc_rtk_c2))),
		I2C_COMMON_EMUL_FAIL_ALL_REG);
	reset_pdc_discovery_for_test();

	/* Default case, all ports return -ENOENT */
	zassert_equal(-ENOENT, board_get_pdc_for_port(0, &dev));
	zassert_is_null(dev);
}

/* ========================================================================== */
/* RTK PDC Configuration Tests                                                */
/* ========================================================================== */

ZTEST(rvp_usbc_runtime, test_c0_only_rtk)
{
	const struct device *dev;

	/* Only C0 RTK responds, all others fail */
	i2c_common_emul_set_write_fail_reg(
		emul_tps6699x_get_i2c_common_data(
			EMUL_DT_GET(DT_NODELABEL(pdc_ti_c0))),
		I2C_COMMON_EMUL_FAIL_ALL_REG);
	i2c_common_emul_set_write_fail_reg(
		emul_tps6699x_get_i2c_common_data(
			EMUL_DT_GET(DT_NODELABEL(pdc_ti_c1))),
		I2C_COMMON_EMUL_FAIL_ALL_REG);
	i2c_common_emul_set_write_fail_reg(
		emul_tps6699x_get_i2c_common_data(
			EMUL_DT_GET(DT_NODELABEL(pdc_ti_c2))),
		I2C_COMMON_EMUL_FAIL_ALL_REG);
	i2c_common_emul_set_write_fail_reg(
		emul_tps6699x_get_i2c_common_data(
			EMUL_DT_GET(DT_NODELABEL(pdc_ti_c0_hbr))),
		I2C_COMMON_EMUL_FAIL_ALL_REG);
	i2c_common_emul_set_write_fail_reg(
		rts5453p_emul_get_i2c_common_data(
			EMUL_DT_GET(DT_NODELABEL(pdc_rtk_c0))),
		I2C_COMMON_EMUL_NO_FAIL_REG);
	i2c_common_emul_set_write_fail_reg(
		rts5453p_emul_get_i2c_common_data(
			EMUL_DT_GET(DT_NODELABEL(pdc_rtk_c1))),
		I2C_COMMON_EMUL_FAIL_ALL_REG);
	i2c_common_emul_set_write_fail_reg(
		rts5453p_emul_get_i2c_common_data(
			EMUL_DT_GET(DT_NODELABEL(pdc_rtk_c2))),
		I2C_COMMON_EMUL_FAIL_ALL_REG);
	reset_pdc_discovery_for_test();

	/* C0_RTK detected, verify C0 works and others fail */
	zassert_ok(board_get_pdc_for_port(0, &dev));
	zassert_equal(DEVICE_DT_GET(DT_NODELABEL(pdc_rtk_c0)), dev);

	zassert_equal(-ENOENT, board_get_pdc_for_port(1, &dev));
	zassert_is_null(dev);
}

ZTEST(rvp_usbc_runtime, test_dual_rtk)
{
	const struct device *dev;

	/* C0 and C1 RTK respond, all TI and HBR fail */
	i2c_common_emul_set_write_fail_reg(
		emul_tps6699x_get_i2c_common_data(
			EMUL_DT_GET(DT_NODELABEL(pdc_ti_c0))),
		I2C_COMMON_EMUL_FAIL_ALL_REG);
	i2c_common_emul_set_write_fail_reg(
		emul_tps6699x_get_i2c_common_data(
			EMUL_DT_GET(DT_NODELABEL(pdc_ti_c1))),
		I2C_COMMON_EMUL_FAIL_ALL_REG);
	i2c_common_emul_set_write_fail_reg(
		emul_tps6699x_get_i2c_common_data(
			EMUL_DT_GET(DT_NODELABEL(pdc_ti_c2))),
		I2C_COMMON_EMUL_FAIL_ALL_REG);
	i2c_common_emul_set_write_fail_reg(
		emul_tps6699x_get_i2c_common_data(
			EMUL_DT_GET(DT_NODELABEL(pdc_ti_c0_hbr))),
		I2C_COMMON_EMUL_FAIL_ALL_REG);
	i2c_common_emul_set_write_fail_reg(
		rts5453p_emul_get_i2c_common_data(
			EMUL_DT_GET(DT_NODELABEL(pdc_rtk_c0))),
		I2C_COMMON_EMUL_NO_FAIL_REG);
	i2c_common_emul_set_write_fail_reg(
		rts5453p_emul_get_i2c_common_data(
			EMUL_DT_GET(DT_NODELABEL(pdc_rtk_c1))),
		I2C_COMMON_EMUL_NO_FAIL_REG);
	i2c_common_emul_set_write_fail_reg(
		rts5453p_emul_get_i2c_common_data(
			EMUL_DT_GET(DT_NODELABEL(pdc_rtk_c2))),
		I2C_COMMON_EMUL_FAIL_ALL_REG);
	reset_pdc_discovery_for_test();

	/* DUAL_RTK detected, verify both ports */
	zassert_ok(board_get_pdc_for_port(0, &dev));
	zassert_equal(DEVICE_DT_GET(DT_NODELABEL(pdc_rtk_c0)), dev);

	zassert_ok(board_get_pdc_for_port(1, &dev));
	zassert_equal(DEVICE_DT_GET(DT_NODELABEL(pdc_rtk_c1)), dev);

	/* Port 2 out of range */
	zassert_equal(-ENOENT, board_get_pdc_for_port(2, &dev));
	zassert_is_null(dev);
}

ZTEST(rvp_usbc_runtime, test_three_rtk)
{
	const struct device *dev;

	/* All three RTK emulators respond, all TI and HBR fail */
	i2c_common_emul_set_write_fail_reg(
		emul_tps6699x_get_i2c_common_data(
			EMUL_DT_GET(DT_NODELABEL(pdc_ti_c0))),
		I2C_COMMON_EMUL_FAIL_ALL_REG);
	i2c_common_emul_set_write_fail_reg(
		emul_tps6699x_get_i2c_common_data(
			EMUL_DT_GET(DT_NODELABEL(pdc_ti_c1))),
		I2C_COMMON_EMUL_FAIL_ALL_REG);
	i2c_common_emul_set_write_fail_reg(
		emul_tps6699x_get_i2c_common_data(
			EMUL_DT_GET(DT_NODELABEL(pdc_ti_c2))),
		I2C_COMMON_EMUL_FAIL_ALL_REG);
	i2c_common_emul_set_write_fail_reg(
		emul_tps6699x_get_i2c_common_data(
			EMUL_DT_GET(DT_NODELABEL(pdc_ti_c0_hbr))),
		I2C_COMMON_EMUL_FAIL_ALL_REG);
	i2c_common_emul_set_write_fail_reg(
		rts5453p_emul_get_i2c_common_data(
			EMUL_DT_GET(DT_NODELABEL(pdc_rtk_c0))),
		I2C_COMMON_EMUL_NO_FAIL_REG);
	i2c_common_emul_set_write_fail_reg(
		rts5453p_emul_get_i2c_common_data(
			EMUL_DT_GET(DT_NODELABEL(pdc_rtk_c1))),
		I2C_COMMON_EMUL_NO_FAIL_REG);
	i2c_common_emul_set_write_fail_reg(
		rts5453p_emul_get_i2c_common_data(
			EMUL_DT_GET(DT_NODELABEL(pdc_rtk_c2))),
		I2C_COMMON_EMUL_NO_FAIL_REG);
	reset_pdc_discovery_for_test();

	/* THREE_RTK detected, verify all ports */
	zassert_ok(board_get_pdc_for_port(0, &dev));
	zassert_equal(DEVICE_DT_GET(DT_NODELABEL(pdc_rtk_c0)), dev);

	zassert_ok(board_get_pdc_for_port(1, &dev));
	zassert_equal(DEVICE_DT_GET(DT_NODELABEL(pdc_rtk_c1)), dev);

	zassert_ok(board_get_pdc_for_port(2, &dev));
	zassert_equal(DEVICE_DT_GET(DT_NODELABEL(pdc_rtk_c2)), dev);

	/* Port 3 out of range */
	zassert_equal(-ENOENT, board_get_pdc_for_port(3, &dev));
	zassert_is_null(dev);
}

/* ========================================================================== */
/* HBR TI PDC Configuration Tests                                             */
/* ========================================================================== */

ZTEST(rvp_usbc_runtime, test_c0_only_ti_hbr)
{
	const struct device *dev;

	/* Only HBR C0 responds (0x22), all others fail */
	i2c_common_emul_set_write_fail_reg(
		emul_tps6699x_get_i2c_common_data(
			EMUL_DT_GET(DT_NODELABEL(pdc_ti_c0_hbr))),
		I2C_COMMON_EMUL_NO_FAIL_REG);
	i2c_common_emul_set_write_fail_reg(
		emul_tps6699x_get_i2c_common_data(
			EMUL_DT_GET(DT_NODELABEL(pdc_ti_c0))),
		I2C_COMMON_EMUL_FAIL_ALL_REG);
	i2c_common_emul_set_write_fail_reg(
		emul_tps6699x_get_i2c_common_data(
			EMUL_DT_GET(DT_NODELABEL(pdc_ti_c1))),
		I2C_COMMON_EMUL_FAIL_ALL_REG);
	i2c_common_emul_set_write_fail_reg(
		emul_tps6699x_get_i2c_common_data(
			EMUL_DT_GET(DT_NODELABEL(pdc_ti_c2))),
		I2C_COMMON_EMUL_FAIL_ALL_REG);
	i2c_common_emul_set_write_fail_reg(
		rts5453p_emul_get_i2c_common_data(
			EMUL_DT_GET(DT_NODELABEL(pdc_rtk_c0))),
		I2C_COMMON_EMUL_FAIL_ALL_REG);
	i2c_common_emul_set_write_fail_reg(
		rts5453p_emul_get_i2c_common_data(
			EMUL_DT_GET(DT_NODELABEL(pdc_rtk_c1))),
		I2C_COMMON_EMUL_FAIL_ALL_REG);
	i2c_common_emul_set_write_fail_reg(
		rts5453p_emul_get_i2c_common_data(
			EMUL_DT_GET(DT_NODELABEL(pdc_rtk_c2))),
		I2C_COMMON_EMUL_FAIL_ALL_REG);
	reset_pdc_discovery_for_test();

	/* C0_TI_HBR detected */
	zassert_ok(board_get_pdc_for_port(0, &dev));
	zassert_equal(DEVICE_DT_GET(DT_NODELABEL(pdc_ti_c0_hbr)), dev);

	zassert_equal(-ENOENT, board_get_pdc_for_port(1, &dev));
	zassert_is_null(dev);
}

ZTEST(rvp_usbc_runtime, test_dual_port_ti_hbr)
{
	const struct device *dev;

	/* HBR C0 (0x22) and C1 (0x20) respond, all others fail */
	i2c_common_emul_set_write_fail_reg(
		emul_tps6699x_get_i2c_common_data(
			EMUL_DT_GET(DT_NODELABEL(pdc_ti_c0_hbr))),
		I2C_COMMON_EMUL_NO_FAIL_REG);
	i2c_common_emul_set_write_fail_reg(
		emul_tps6699x_get_i2c_common_data(
			EMUL_DT_GET(DT_NODELABEL(pdc_ti_c0))),
		I2C_COMMON_EMUL_NO_FAIL_REG);
	i2c_common_emul_set_write_fail_reg(
		emul_tps6699x_get_i2c_common_data(
			EMUL_DT_GET(DT_NODELABEL(pdc_ti_c1))),
		I2C_COMMON_EMUL_FAIL_ALL_REG);
	i2c_common_emul_set_write_fail_reg(
		emul_tps6699x_get_i2c_common_data(
			EMUL_DT_GET(DT_NODELABEL(pdc_ti_c2))),
		I2C_COMMON_EMUL_FAIL_ALL_REG);
	i2c_common_emul_set_write_fail_reg(
		rts5453p_emul_get_i2c_common_data(
			EMUL_DT_GET(DT_NODELABEL(pdc_rtk_c0))),
		I2C_COMMON_EMUL_FAIL_ALL_REG);
	i2c_common_emul_set_write_fail_reg(
		rts5453p_emul_get_i2c_common_data(
			EMUL_DT_GET(DT_NODELABEL(pdc_rtk_c1))),
		I2C_COMMON_EMUL_FAIL_ALL_REG);
	i2c_common_emul_set_write_fail_reg(
		rts5453p_emul_get_i2c_common_data(
			EMUL_DT_GET(DT_NODELABEL(pdc_rtk_c2))),
		I2C_COMMON_EMUL_FAIL_ALL_REG);
	reset_pdc_discovery_for_test();

	/* DUAL_TI_HBR detected: port0=0x22, port1=0x20 */
	zassert_ok(board_get_pdc_for_port(0, &dev));
	zassert_equal(DEVICE_DT_GET(DT_NODELABEL(pdc_ti_c0_hbr)), dev);

	zassert_ok(board_get_pdc_for_port(1, &dev));
	zassert_equal(DEVICE_DT_GET(DT_NODELABEL(pdc_ti_c0)), dev);

	/* Port 2 out of range in DUAL_TI_HBR */
	zassert_equal(-ENOENT, board_get_pdc_for_port(2, &dev));
	zassert_is_null(dev);
}

ZTEST(rvp_usbc_runtime, test_three_port_ti_hbr)
{
	const struct device *dev;

	/* HBR C0 (0x22), C1 (0x20), C2 (0x21) all respond */
	i2c_common_emul_set_write_fail_reg(
		emul_tps6699x_get_i2c_common_data(
			EMUL_DT_GET(DT_NODELABEL(pdc_ti_c0_hbr))),
		I2C_COMMON_EMUL_NO_FAIL_REG);
	i2c_common_emul_set_write_fail_reg(
		emul_tps6699x_get_i2c_common_data(
			EMUL_DT_GET(DT_NODELABEL(pdc_ti_c0))),
		I2C_COMMON_EMUL_NO_FAIL_REG);
	i2c_common_emul_set_write_fail_reg(
		emul_tps6699x_get_i2c_common_data(
			EMUL_DT_GET(DT_NODELABEL(pdc_ti_c1))),
		I2C_COMMON_EMUL_FAIL_ALL_REG);
	i2c_common_emul_set_write_fail_reg(
		emul_tps6699x_get_i2c_common_data(
			EMUL_DT_GET(DT_NODELABEL(pdc_ti_c2))),
		I2C_COMMON_EMUL_NO_FAIL_REG);
	i2c_common_emul_set_write_fail_reg(
		rts5453p_emul_get_i2c_common_data(
			EMUL_DT_GET(DT_NODELABEL(pdc_rtk_c0))),
		I2C_COMMON_EMUL_FAIL_ALL_REG);
	i2c_common_emul_set_write_fail_reg(
		rts5453p_emul_get_i2c_common_data(
			EMUL_DT_GET(DT_NODELABEL(pdc_rtk_c1))),
		I2C_COMMON_EMUL_FAIL_ALL_REG);
	i2c_common_emul_set_write_fail_reg(
		rts5453p_emul_get_i2c_common_data(
			EMUL_DT_GET(DT_NODELABEL(pdc_rtk_c2))),
		I2C_COMMON_EMUL_FAIL_ALL_REG);
	reset_pdc_discovery_for_test();

	/* THREE_TI_HBR detected: port0=0x22, port1=0x20, port2=0x21 */
	zassert_ok(board_get_pdc_for_port(0, &dev));
	zassert_equal(DEVICE_DT_GET(DT_NODELABEL(pdc_ti_c0_hbr)), dev);

	zassert_ok(board_get_pdc_for_port(1, &dev));
	zassert_equal(DEVICE_DT_GET(DT_NODELABEL(pdc_ti_c0)), dev);

	zassert_ok(board_get_pdc_for_port(2, &dev));
	zassert_equal(DEVICE_DT_GET(DT_NODELABEL(pdc_ti_c2)), dev);

	/* Port 3 out of range */
	zassert_equal(-ENOENT, board_get_pdc_for_port(3, &dev));
	zassert_is_null(dev);
}

ZTEST_SUITE(rvp_usbc_runtime, NULL, NULL, NULL, NULL, NULL);
```

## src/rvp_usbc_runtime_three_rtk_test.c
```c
/* Copyright 2026 The ChromiumOS Authors
 * Use of this source code is governed by a BSD-style license that can be
 * found in the LICENSE file.
 *
 * Three-RTK test for board_get_pdc_for_port().
 *
 * Overlay: native_sim.overlay (ATRIA_THREE_RTK)
 * All three RTK probes succeed (tps6699 proxies); all TI nodes fake-absent.
 * detected = RVP_TCSS_THREE_RTK → THREE_RTK switch case.
 */

#include "usbc/pdc_runtime_port_config.h"

#include <errno.h>

#include <zephyr/devicetree.h>
#include <zephyr/ztest.h>

ZTEST_SUITE(rvp_usbc_runtime_three_rtk, NULL, NULL, NULL, NULL, NULL);

ZTEST(rvp_usbc_runtime_three_rtk, test_three_rtk)
{
	const struct device *dev;

	/* First call triggers discovery → THREE_RTK. */
	zassert_ok(board_get_pdc_for_port(0, &dev));
	zassert_equal(DEVICE_DT_GET(DT_NODELABEL(pdc_rtk_c0)), dev);

	zassert_ok(board_get_pdc_for_port(1, &dev));
	zassert_equal(DEVICE_DT_GET(DT_NODELABEL(pdc_rtk_c1)), dev);

	zassert_ok(board_get_pdc_for_port(2, &dev));
	zassert_equal(DEVICE_DT_GET(DT_NODELABEL(pdc_rtk_c2)), dev);

	/* Port 3 has no match in the THREE_RTK switch case → -ENOENT. */
	zassert_equal(-ENOENT, board_get_pdc_for_port(3, &dev));
	zassert_is_null(dev);
}
```

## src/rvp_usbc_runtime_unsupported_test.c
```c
/* Copyright 2026 The ChromiumOS Authors
 * Use of this source code is governed by a BSD-style license that can be
 * found in the LICENSE file.
 *
 * Unsupported-combo test for board_get_pdc_for_port().
 *
 * Overlay: native_sim.overlay
 * (CONFIG_TEST_ATRIA_RVP_USBC_RUNTIME_UNSUPPORTED=y)
 * C0 and C2 respond; C1 is fake-absent.
 * detected = RVP_TCSS_C0_TI | RVP_TCSS_C2_TI → falls to default case in the
 * switch, returning -ENOENT for all ports.
 */

#include "usbc/pdc_runtime_port_config.h"

#include <errno.h>

#include <zephyr/ztest.h>

ZTEST_SUITE(rvp_usbc_runtime_unsupported, NULL, NULL, NULL, NULL, NULL);

ZTEST(rvp_usbc_runtime_unsupported, test_unsupported_combo)
{
	const struct device *dev;

	/* First call triggers discovery; unsupported combo hits default case.
	 */
	zassert_equal(-ENOENT, board_get_pdc_for_port(0, &dev));
	zassert_is_null(dev);
}
```
